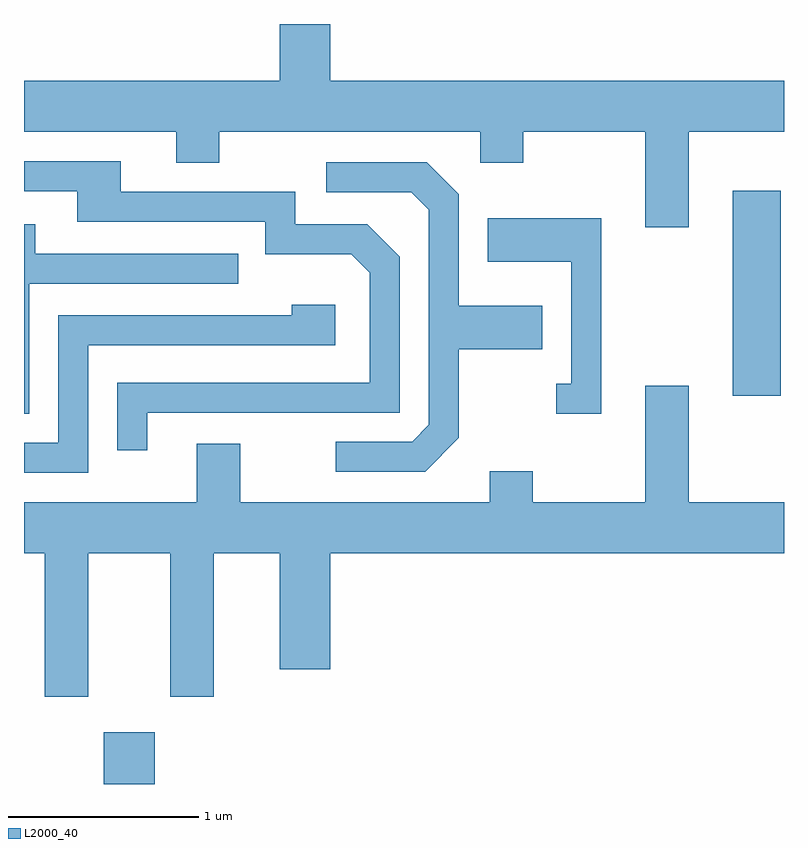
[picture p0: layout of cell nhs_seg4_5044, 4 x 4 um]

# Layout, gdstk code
import gdstk
lib = gdstk.Library(unit=1e-6, precision=1e-09)
def R(c, l, rs):  # rectangles x0, y0, x1, y1
    for r in rs: c.add(gdstk.rectangle(r[:2], r[2:], *l))
def P(c, l, *ps):  # polygons
    for p in ps: c.add(gdstk.Polygon(p, *l))
L2000_40 = (2000, 40)

nhs_seg4_5044 = lib.new_cell('nhs_seg4_5044')
R(nhs_seg4_5044, L2000_40, [(334.031,1277.982,334.299,1278.254), (337.341,1280.026,337.594,1281.104)])
P(nhs_seg4_5044, L2000_40, [(335.224,1281.982),(334.956,1281.982),(334.956,1281.684),(333.611,1281.684),(333.611,1281.416),(334.411,1281.416),(334.411,1281.251),(334.639,1281.251),(334.639,1281.416),(336.011,1281.416),(336.011,1281.251),(336.239,1281.251),(336.239,1281.416),(336.881,1281.416),(336.881,1280.911),(337.109,1280.911),(337.109,1281.416),(337.611,1281.416),(337.611,1281.684),(335.224,1281.684)],
  [(334.259,1279.936),(335.589,1279.936),(335.589,1280.757),(335.417,1280.929),(335.039,1280.929),(335.039,1281.099),(334.119,1281.099),(334.119,1281.259),(333.611,1281.259),(333.611,1281.101),(333.891,1281.101),(333.891,1280.941),(334.881,1280.941),(334.881,1280.771),(335.334,1280.771),(335.431,1280.674),(335.431,1280.094),(334.101,1280.094),(334.101,1279.738),(334.259,1279.738)],
  [(335.899,1279.804),(335.899,1280.271),(336.339,1280.271),(336.339,1280.499),(335.899,1280.499),(335.899,1281.087),(335.732,1281.254),(335.203,1281.254),(335.203,1281.096),(335.649,1281.096),(335.741,1281.004),(335.741,1279.872),(335.654,1279.784),(335.253,1279.784),(335.253,1279.626),(335.722,1279.626)],
  [(336.649,1280.959),(336.051,1280.959),(336.051,1280.731),(336.491,1280.731),(336.491,1280.089),(336.413,1280.089),(336.413,1279.931),(336.649,1279.931)],
  [(333.639,1280.616),(334.738,1280.616),(334.738,1280.774),(333.669,1280.774),(333.669,1280.929),(333.611,1280.929),(333.611,1279.931),(333.639,1279.931)],
  [(333.949,1280.291),(335.249,1280.291),(335.249,1280.504),(335.021,1280.504),(335.021,1280.449),(333.791,1280.449),(333.791,1279.779),(333.611,1279.779),(333.611,1279.621),(333.949,1279.621)],
  [(333.949,1279.196),(334.381,1279.196),(334.381,1278.441),(334.609,1278.441),(334.609,1279.196),(334.956,1279.196),(334.956,1278.586),(335.224,1278.586),(335.224,1279.196),(337.611,1279.196),(337.611,1279.464),(337.109,1279.464),(337.109,1280.079),(336.881,1280.079),(336.881,1279.464),(336.289,1279.464),(336.289,1279.629),(336.061,1279.629),(336.061,1279.464),(334.749,1279.464),(334.749,1279.774),(334.521,1279.774),(334.521,1279.464),(333.611,1279.464),(333.611,1279.196),(333.721,1279.196),(333.721,1278.441),(333.949,1278.441)])

lib.write_gds('nhs_seg4_5044.gds')
